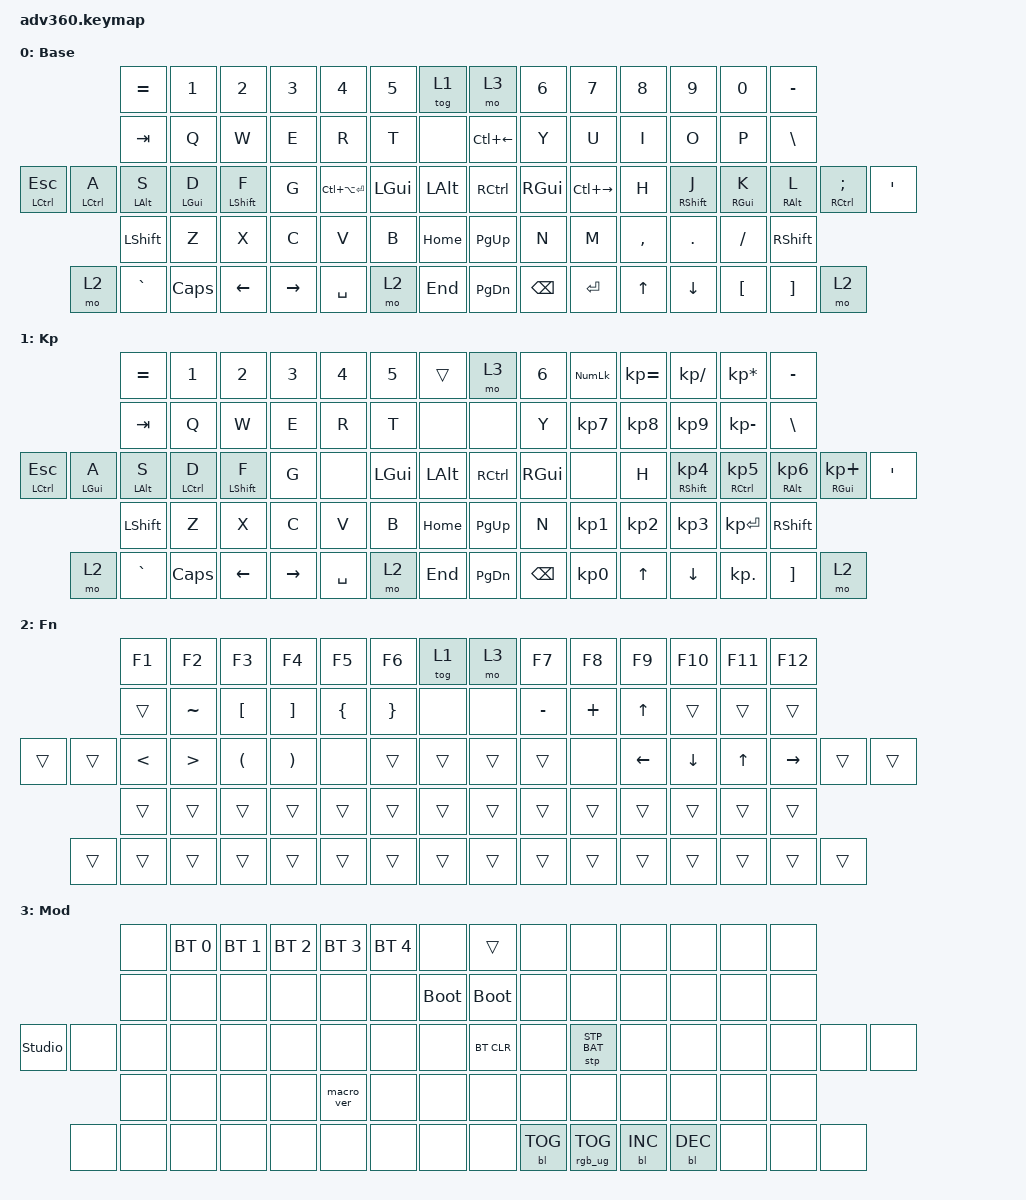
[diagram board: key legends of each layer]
#include <behaviors.dtsi>
#include <dt-bindings/zmk/keys.h>
#include <dt-bindings/zmk/bt.h>
#include <dt-bindings/zmk/rgb.h>
#include <dt-bindings/zmk/stp.h>
#include <dt-bindings/zmk/backlight.h>
#include <dt-bindings/zmk/pointing.h>

/ {
    behaviors {
      #include "macros.dtsi"
      #include "version.dtsi"

      hml: homerow_mods_left {
          compatible = "zmk,behavior-hold-tap";
          label = "HOMEROW_MODS_LEFT";
          #binding-cells = <2>;
          tapping-term-ms = <200>;
          quick_tap_ms = <175>;
          flavor = "tap-preferred";
          bindings = <&kp>, <&kp>;
          hold-trigger-key-positions = <7 8 9 10 11 12 13 21 22 23 24 25 26 27 39 40 41 42 43 44 45 54 55 56 57 58 59 71 72 73 74 75 37 38 53 68 69 70>;
      };

      hmr: homerow_mods_right {
          compatible = "zmk,behavior-hold-tap";
          label = "HOMEROW_MODS_RIGHT";
          #binding-cells = <2>;
          tapping-term-ms = <200>;
          quick_tap_ms = <175>;
          flavor = "tap-preferred";
          bindings = <&kp>, <&kp>;
          hold-trigger-key-positions = <0 1 2 3 4 5 6 14 15 16 17 18 19 20 28 29 30 31 32 33 34 46 47 48 49 50 51 60 61 62 63 64 35 36 52 65 66 67>;
      };

      esc_ctrl: esc_ctrl {
          compatible = "zmk,behavior-hold-tap";
          label = "ESC_CTRL";
          #binding-cells = <2>;
          tapping-term-ms = <200>;
          quick_tap_ms = <175>;
          flavor = "tap-preferred";
          bindings = <&kp>, <&kp>;
      };
    };

  keymap {
    compatible = "zmk,keymap";

    /*
     * Layer 0: Base (Default)
     *
     *        ┌────┬────┬────┬────┬────┬────┬────┐                           ┌────┬────┬────┬────┬────┬────┬────┐
     *        │ =  │ 1  │ 2  │ 3  │ 4  │ 5  │TG 1│                           │MO 3│ 6  │ 7  │ 8  │ 9  │ 0  │ -  │
     *        ├────┼────┼────┼────┼────┼────┼────┤                           ├────┼────┼────┼────┼────┼────┼────┤
     *        │TAB │ Q  │ W  │ E  │ R  │ T  │    │                           │ C← │ Y  │ U  │ I  │ O  │ P  │ \  │
     *        ├────┼────┼────┼────┼────┼────┼────┤                           ├────┼────┼────┼────┼────┼────┼────┤
     *        │ESC │ A  │ S  │ D  │ F  │ G  │C-A↵│                           │ C→ │ H  │ J  │ K  │ L  │ ;  │ '  │
     *        ├────┼────┼────┼────┼────┼────┼────┤                           ├────┼────┼────┼────┼────┼────┼────┤
     *        │LSFT│ Z  │ X  │ C  │ V  │ B  │    │                           │    │ N  │ M  │ ,  │ .  │ /  │RSFT│
     *        ├────┼────┼────┼────┼────┼────┴────┘                           └────┴────┼────┼────┼────┼────┼────┤
     *        │MO 2│ `  │CAPS│ ←  │ →  │                                               │ ↑  │ ↓  │ [  │ ]  │MO 2│
     *        └────┴────┴────┴────┴────┘                                               └────┴────┴────┴────┴────┘
     *
     *                                           ┌────┬────┐      ┌────┬────┐
     *                                           │LGUI│LALT│      │RCTL│RGUI│
     *                                           └────┴────┘      └────┴────┘
     *                                      ┌────┬────┐┌────┐     ┌────┐┌────┬────┐
     *                                      │    │    ││HOME│     │PGUP││    │    │
     *                                      │ SPC│MO 2│├────┤     ├────┤│BSPC│ ENT│
     *                                      │    │    ││ END│     │PGDN││    │    │
     *                                      └────┴────┘└────┘     └────┘└────┴────┘
     */
    default_layer {
      display-name = "Base";
      bindings = <
        &kp EQUAL &kp N1    &kp N2   &kp N3   &kp N4     &kp N5 &tog 1                                                           &mo 3 &kp N6 &kp N7 &kp N8    &kp N9   &kp N0   &kp MINUS
        &kp TAB   &kp Q     &kp W    &kp E    &kp R      &kp T  &none                                                            &kp LC(LEFT) &kp Y  &kp U  &kp I     &kp O    &kp P    &kp BSLH
        &esc_ctrl LCTRL ESC &hml LCTRL A &hml LALT S &hml LGUI D &hml LSHFT F &kp G  &kp LC(LA(RET))           &kp LGUI   &kp LALT &kp RCTRL &kp RGUI            &kp LC(RIGHT) &kp H  &hmr RSHFT J &hmr RGUI K &hmr RALT L &hmr RCTRL SEMI &kp SQT
        &kp LSHFT &kp Z     &kp X    &kp C    &kp V      &kp B                            &kp HOME &kp PG_UP                           &kp N  &kp M  &kp COMMA &kp DOT  &kp FSLH &kp RSHFT
        &mo 2     &kp GRAVE &kp CAPS &kp LEFT &kp RIGHT                &kp SPACE &mo 2  &kp END  &kp PG_DN &kp BSPC  &kp ENTER              &kp UP &kp DOWN  &kp LBKT &kp RBKT &mo 2
      >;
    };

    /*
     * Layer 1: Keypad
     *
     *        ┌────┬────┬────┬────┬────┬────┬────┐               ┌────┬────┬────┬────┬────┬────┬────┐
     *        │ =  │ 1  │ 2  │ 3  │ 4  │ 5  │▼▼▼ │               │MO 3│ 6  │NUM │ =  │ /  │ *  │ -  │
     *        ├────┼────┼────┼────┼────┼────┼────┤               ├────┼────┼────┼────┼────┼────┼────┤
     *        │TAB │ Q  │ W  │ E  │ R  │ T  │    │               │    │ Y  │ 7  │ 8  │ 9  │ -  │ \  │
     *        ├────┼────┼────┼────┼────┼────┼────┤               ├────┼────┼────┼────┼────┼────┼────┤
     *        │ESC │ A  │ S  │ D  │ F  │ G  │    │               │    │ H  │ 4  │ 5  │ 6  │ +  │ '  │
     *        ├────┼────┼────┼────┼────┼────┼────┤               ├────┼────┼────┼────┼────┼────┼────┤
     *        │LSFT│ Z  │ X  │ C  │ V  │ B  │    │               │    │ N  │ 1  │ 2  │ 3  │ ENT│RSFT│
     *        ├────┼────┼────┼────┼────┼────┴────┘               └────┴────┼────┼────┼────┼────┼────┤
     *        │MO 2│ `  │CAPS│ ←  │ →  │                                   │ ↑  │ ↓  │ .  │ ]  │MO 2│
     *        └────┴────┴────┴────┴────┘                                   └────┴────┴────┴────┴────┘
     *
     *                          ┌────┬────┐               ┌────┬────┐
     *                          │LGUI│LALT│               │RCTL│RGUI│
     *                          └────┴────┘               └────┴────┘
     *                     ┌────┬────┐┌────┐         ┌────┐┌────┬────┐
     *                     │    │    ││HOME│         │PGUP││    │    │
     *                     │ SPC│MO 2│├────┤         ├────┤│BSPC│ 0  │
     *                     │    │    ││ END│         │PGDN││    │    │
     *                     └────┴────┘└────┘         └────┘└────┴────┘
     */
    keypad {
      display-name = "Kp";
      bindings = <
        &kp EQUAL &kp N1    &kp N2   &kp N3   &kp N4     &kp N5 &trans                                                           &mo 3 &kp N6 &kp KP_NUM &kp KP_EQUAL &kp KP_DIVIDE &kp KP_MULTIPLY &kp MINUS
        &kp TAB   &kp Q     &kp W    &kp E    &kp R      &kp T  &none                                                            &none &kp Y  &kp KP_N7  &kp KP_N8    &kp KP_N9     &kp KP_MINUS    &kp BSLH
        &esc_ctrl LCTRL ESC &hml LGUI A &hml LALT S &hml LCTRL D &hml LSHFT F &kp G  &none           &kp LGUI   &kp LALT &kp RCTRL &kp RGUI            &none &kp H  &hmr RSHFT KP_N4 &hmr RCTRL KP_N5 &hmr RALT KP_N6 &hmr RGUI KP_PLUS &kp SQT
        &kp LSHFT &kp Z     &kp X    &kp C    &kp V      &kp B                            &kp HOME &kp PG_UP                           &kp N  &kp KP_N1  &kp KP_N2    &kp KP_N3     &kp KP_ENTER    &kp RSHFT
        &mo 2     &kp GRAVE &kp CAPS &kp LEFT &kp RIGHT                &kp SPACE &mo 2  &kp END  &kp PG_DN &kp BSPC  &kp KP_N0              &kp UP     &kp DOWN     &kp KP_DOT    &kp RBKT        &mo 2
      >;
    };

    /*
     * Layer 2: Function (Fn)
     *
     *        ┌────┬────┬────┬────┬────┬────┬────┐               ┌────┬────┬────┬────┬────┬────┬────┐
     *        │ F1 │ F2 │ F3 │ F4 │ F5 │ F6 │TG 1│               │MO 3│ F7 │ F8 │ F9 │F10 │F11 │F12 │
     *        ├────┼────┼────┼────┼────┼────┼────┤               ├────┼────┼────┼────┼────┼────┼────┤
     *        │▼▼▼ │ ~  │ [  │ ]  │ {  │ }  │    │               │    │ -  │ +  │ ↑  │▼▼▼ │▼▼▼ │▼▼▼ │
     *        ├────┼────┼────┼────┼────┼────┼────┤               ├────┼────┼────┼────┼────┼────┼────┤
     *        │▼▼▼ │▼▼▼ │ <  │ >  │ (  │ )  │    │               │    │ ←  │ ↓  │ ↑  │ →  │▼▼▼ │▼▼▼ │
     *        ├────┼────┼────┼────┼────┼────┼────┤               ├────┼────┼────┼────┼────┼────┼────┤
     *        │▼▼▼ │▼▼▼ │▼▼▼ │▼▼▼ │▼▼▼ │▼▼▼ │    │               │    │▼▼▼ │▼▼▼ │▼▼▼ │▼▼▼ │▼▼▼ │▼▼▼ │
     *        ├────┼────┼────┼────┼────┼────┴────┘               └────┴────┼────┼────┼────┼────┼────┤
     *        │▼▼▼ │▼▼▼ │▼▼▼ │▼▼▼ │▼▼▼ │                                   │▼▼▼ │▼▼▼ │▼▼▼ │▼▼▼ │▼▼▼ │
     *        └────┴────┴────┴────┴────┘                                   └────┴────┴────┴────┴────┘
     *
     *                          ┌────┬────┐               ┌────┬────┐
     *                          │▼▼▼ │▼▼▼ │               │▼▼▼ │▼▼▼ │
     *                          └────┴────┘               └────┴────┘
     *                     ┌────┬────┐┌────┐         ┌────┐┌────┬────┐
     *                     │    │    ││▼▼▼ │         │▼▼▼ ││    │    │
     *                     │▼▼▼ │▼▼▼ │├────┤         ├────┤│▼▼▼ │▼▼▼ │
     *                     │    │    ││▼▼▼ │         │▼▼▼ ││    │    │
     *                     └────┴────┘└────┘         └────┘└────┴────┘
     *
     * ▼▼▼ = transparent/pass-through from base layer
     */
    fn {
      display-name = "Fn";
      bindings = <
        &kp F1    &kp F2    &kp F3       &kp F4       &kp F5       &kp F6 &tog 1                                           &mo 3 &kp F7   &kp F8     &kp F9   &kp F10 &kp F11 &kp F12
        &trans    &kp TILDE &kp LBKT     &kp RBKT     &kp LBRC     &kp RBRC  &none                                           &none &kp MINUS   &kp PLUS     &kp UP   &trans  &trans  &trans
        &trans    &trans    &kp LT       &kp GT       &kp LPAR     &kp RPAR  &none        &trans &trans &trans &trans        &none &kp LEFT &kp DOWN   &kp UP   &kp RIGHT &trans  &trans
        &trans    &trans    &trans       &trans       &trans       &trans                      &trans &trans                     &trans   &trans     &trans   &trans  &trans  &trans
        &trans    &trans    &trans       &trans       &trans                     &trans &trans &trans &trans &trans &trans              &trans     &trans   &trans  &trans  &trans
      >;
    };

    /*
     * Layer 3: Mod (System/Control)
     *
     *        ┌────┬────┬────┬────┬────┬────┬────┐               ┌────┬────┬────┬────┬────┬────┬────┐
     *        │    │BT 0│BT 1│BT 2│BT 3│BT 4│    │               │▼▼▼ │    │    │    │    │    │    │
     *        ├────┼────┼────┼────┼────┼────┼────┤               ├────┼────┼────┼────┼────┼────┼────┤
     *        │    │    │    │    │    │    │BOOT│               │BOOT│    │    │    │    │    │    │
     *        ├────┼────┼────┼────┼────┼────┼────┤               ├────┼────┼────┼────┼────┼────┼────┤
     *        │STDO│    │    │    │    │    │    │               │    │ BAT│    │    │    │    │    │
     *        ├────┼────┼────┼────┼────┼────┼────┤               ├────┼────┼────┼────┼────┼────┼────┤
     *        │    │    │    │    │ VER│    │    │               │    │    │    │    │    │    │    │
     *        ├────┼────┼────┼────┼────┼────┴────┘               └────┴────┼────┼────┼────┼────┼────┤
     *        │    │    │    │    │    │                                   │BL+ │BL- │    │    │    │
     *        └────┴────┴────┴────┴────┘                                   └────┴────┴────┴────┴────┘
     *
     *                          ┌────┬────┐               ┌────┬────┐
     *                          │    │    │               │    │BTCR│
     *                          └────┴────┘               └────┴────┘
     *                     ┌────┬────┐┌────┐         ┌────┐┌────┬────┐
     *                     │    │    ││    │         │    ││    │    │
     *                     │    │    │├────┤         ├────┤│BLTG│RGBT│
     *                     │    │    ││    │         │    ││    │    │
     *                     └────┴────┘└────┘         └────┘└────┴────┘
     *
     * Legend:
     * BT 0-4: Bluetooth profile select (0-4)
     * BOOT: Enter bootloader mode
     * STDO: Studio unlock
     * BTCR: Bluetooth clear
     * BAT: Show battery status
     * VER: Display firmware version
     * BL+/BL-: Backlight increase/decrease
     * BLTG: Backlight toggle
     * RGBT: RGB underglow toggle
     */
    mod {
      display-name = "Mod";
      bindings = <
        &none &bt BT_SEL 0 &bt BT_SEL 1 &bt BT_SEL 2 &bt BT_SEL 3 &bt BT_SEL 4 &none                                                                     &trans                 &none        &none        &none        &none &none &none
        &none &none        &none        &none        &none        &none        &bootloader                                                               &bootloader            &none        &none        &none        &none &none &none
        &studio_unlock &none        &none        &none        &none        &none        &none                   &none &none &bt BT_CLR &none                      &stp STP_BAT &none        &none        &none        &none &none &none
        &none &none        &none        &none        &macro_ver   &none                                      &none &none                                                        &none        &none        &none        &none &none &none
        &none &none        &none        &none        &none                                       &none &none &none &none      &bl BL_TOG &rgb_ug RGB_TOG                                     &bl BL_INC   &bl BL_DEC   &none &none &none
      >;
    };
    extra1 { 
      display-name = "Red";    
      status = "reserved";
    };

    extra2 { 
      display-name = "Purple";    
      status = "reserved";
    };

    extra3 { 
      display-name = "Cyan";    
      status = "reserved";
    };

    extra4 { 
      display-name = "Yellow";    
      status = "reserved";
    };
  };
};
